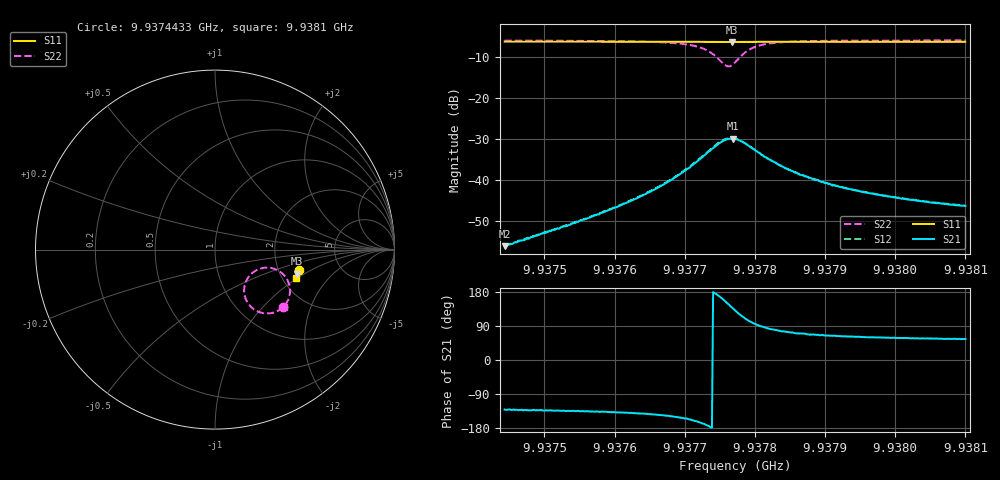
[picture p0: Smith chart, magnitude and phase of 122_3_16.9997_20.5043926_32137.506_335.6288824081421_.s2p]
#  HZ  S  RI  R  50.00
! Rohde & Schwarz Vector Network Analyzer
! Rohde-Schwarz,ZNB20-2Port,1311601062101988,3.16
! Created: UTC 3/20/2024, 10:57:35 PM
! freq[Hz]  re:S11  im:S11  re:S21  im:S21  re:S12  im:S12  re:S22  im:S22
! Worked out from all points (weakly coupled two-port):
!   401 points, 9.9374433 GHz to 9.9381 GHz, reference 50 ohm
!   highest |S21| = -29.94 dB at 9.9377684 GHz (marker M1); lowest = -56.1 dB at 9.9374433 GHz (marker M2)
!   lowest |S11| = -6.4 dB at 9.9377667 GHz (marker M3), VSWR 2.83, Z = 124 - j43.3 ohm
!   |S11| at or under -10 dB: nowhere
!   |S22| runs from -12.3 to -6.0 dB; largest |S21 - S12| = 0.0015
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9.93744333e9  0.4686 -0.1156  -0.00102 -0.00118  -0.00108 -0.00117  0.3784 -0.3215
9.93755332e9  0.4663 -0.1233  -0.00229 -0.00231  -0.00235 -0.00228  0.3619 -0.3342
9.93761899e9  0.4647 -0.1278  -0.00407 -0.00349  -0.00416 -0.00349  0.3428 -0.3447
9.93766331e9  0.4634 -0.1308  -0.0067 -0.00469  -0.00691 -0.00469  0.3176 -0.3529
9.93770271e9  0.4617 -0.1336  -0.0121 -0.00587  -0.0124 -0.00556  0.2707 -0.3544
9.93772733e9  0.4604 -0.1351  -0.0194 -0.00397  -0.0199 -0.00349  0.214 -0.3307
9.93773882e9  0.4596 -0.1355  -0.0239 -0.000548  -0.0245 0.000402  0.1816 -0.2959
9.93775031e9  0.4587 -0.1356  -0.0275 0.00661  -0.0281 0.00776  0.1623 -0.2332
9.93776016e9  0.4582 -0.1353  -0.0272 0.0153  -0.0272 0.0166  0.1794 -0.1644
9.93776673e9  0.4582 -0.1349  -0.0242 0.0206  -0.0237 0.0221  0.2129 -0.1263
9.93776837e9  0.4582 -0.135  -0.0231 0.0219  -0.0227 0.0231  0.2235 -0.119
9.93777165e9  0.4586 -0.1348  -0.0208 0.0237  -0.02 0.025  0.2462 -0.1082
9.93777986e9  0.4591 -0.1348  -0.0141 0.0262  -0.0132 0.027  0.3026 -0.1011
9.93778807e9  0.4597 -0.1354  -0.00806 0.0258  -0.00724 0.0265  0.348 -0.1144
9.93780613e9  0.4601 -0.1369  -0.000161 0.0214  0.000294 0.0213  0.4003 -0.1633
9.93783568e9  0.46 -0.1394  0.00338 0.0146  0.00379 0.0145  0.4178 -0.2221
9.9378603e9  0.4597 -0.1415  0.00414 0.0113  0.00415 0.0115  0.4162 -0.25
9.93788164e9  0.4591 -0.143  0.00407 0.00948  0.00422 0.00955  0.4126 -0.2653
9.93793417e9  0.458 -0.1467  0.00364 0.00685  0.0038 0.00685  0.4038 -0.2883
9.93799163e9  0.4562 -0.1505  0.00327 0.00538  0.0034 0.00535  0.3954 -0.3022
9.93805565e9  0.4549 -0.1548  0.00291 0.00438  0.003 0.00437  0.3884 -0.3122
9.93809997e9  0.4535 -0.1577  0.00275 0.00396  0.00287 0.00394  0.3842 -0.3175
